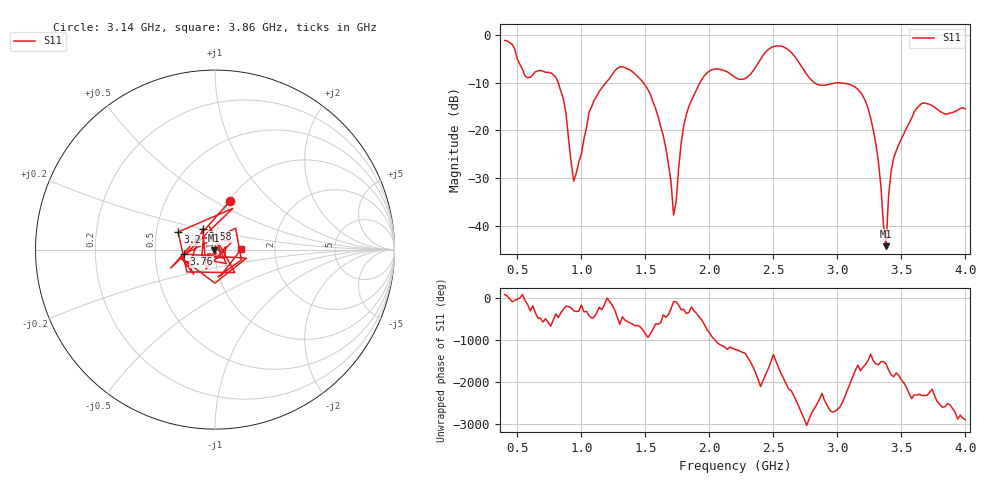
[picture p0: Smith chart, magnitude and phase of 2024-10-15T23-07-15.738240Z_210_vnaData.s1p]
! Created with skrf (http://scikit-rf.org).
# Hz S RI R 50.0
!freq ReS11 ImS11
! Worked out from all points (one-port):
!   181 points, 400 MHz to 4 GHz, reference 50 ohm
!   lowest |S11| = -44.3 dB at 3.38 GHz (marker M1), VSWR 1.01, Z = 49.6 - j0.479 ohm
!   |S11| at or under -10 dB: 818 MHz to 1.193 GHz (375.4 MHz wide, 37.3 % of centre); 1.483 GHz to 1.927 GHz (444.4 MHz wide, 26.1 % of centre); 2.818 GHz to end of sweep
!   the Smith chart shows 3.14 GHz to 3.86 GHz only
!   S11 on the Smith chart (normalised r, x): 3.14 GHz: 1.01, +0.59; 3.2 GHz: 0.65, +0.13; 3.58 GHz: 0.85, +0.20; 3.76 GHz: 0.71, -0.04; 3.86 GHz: 1.35, +0.01
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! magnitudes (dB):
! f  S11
! 400 MHz  -1.2
! 560 MHz  -8.7
! 760 MHz  -8.0
! 860 MHz  -13.6
! 940 MHz  -30.7
! 1.06 GHz  -16.3
! 1.3 GHz  -6.7
! 1.58 GHz  -15.5
! 1.66 GHz  -23.8
! 1.72 GHz  -37.8
! 1.76 GHz  -27.9
! 1.82 GHz  -16.7
! 1.94 GHz  -9.4
! 2.2 GHz  -8.9
! 2.5 GHz  -2.5
! 2.66 GHz  -4.3
! 2.84 GHz  -10.4
! 3.1 GHz  -10.4
! 3.14 GHz  -11.0
! 3.2 GHz  -12.9
! 3.3 GHz  -22.8
! 3.38 GHz  -44.3
! 3.42 GHz  -28.5
! 3.56 GHz  -18.5
! 3.58 GHz  -17.5
! 3.76 GHz  -15.2
! 3.86 GHz  -16.6
! 4 GHz  -15.5
